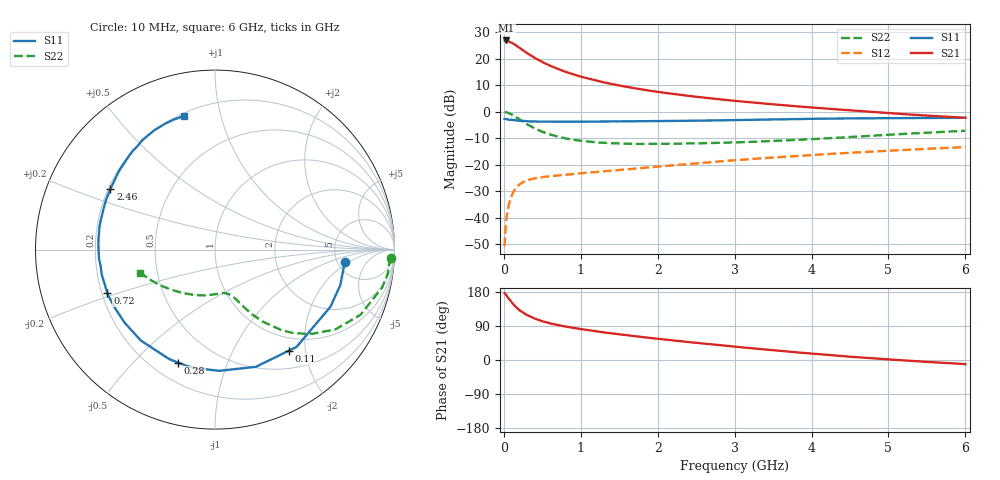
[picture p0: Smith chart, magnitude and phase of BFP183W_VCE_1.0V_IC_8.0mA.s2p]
! Infineon Technologies  Discrete & RF Semiconductors
! BFP183W
! VCE = 1.0 V,  IC =  8.0 mA
! Common Emitter S-Parameters:  Jan 2016
# GHz  S  MA  R  50
!  f  S11  S21  S12  S22
! GHz  MAG  ANG  MAG  ANG  MAG  ANG  MAG  ANG
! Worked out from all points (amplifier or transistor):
!   210 points, 10 MHz to 6 GHz, reference 50 ohm
!   highest |S21| = 26.8 dB at 30 MHz (marker M1)
!   |S21| within 3 dB of that: start of sweep to 213.7 MHz
!   unconditionally stable (mu >= 1): 1.359 GHz to end of sweep
!   at 185 MHz: K = 0.21, MSG = 26.2 dB, |S12| = -27.9 dB
!   at 1.52 GHz: K = 1.06, MAG = 14.3 dB, |S12| = -22.0 dB
!   at 6 GHz: K = 1.03, MAG = 4.4 dB, |S12| = -13.4 dB
!   S11 on the Smith chart (normalised r, x): 10 MHz: 5.84, -1.66; 110 MHz: 0.77, -1.69; 280 MHz: 0.30, -0.68; 720 MHz: 0.22, -0.19; 2.46 GHz: 0.21, +0.26; 6 GHz: 0.22, +0.77
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0.01  0.727 -5.3  21.95 176.4  0.0029 88.3  0.9816 -2.6
0.02  0.7229 -10.5  21.92 174.3  0.0059 81.8  0.9723 -5.2
0.03  0.7256 -15.8  21.97 171.4  0.0087 82.3  0.9726 -7.8
0.05  0.7177 -26.3  21.53 165.5  0.0142 78.0  0.9549 -12.8
0.1  0.7075 -50.0  20.03 152.5  0.0259 66.4  0.8884 -24.1
0.11  0.697 -54.0  19.58 150.4  0.0278 64.1  0.8697 -25.8
0.15  0.6916 -70.8  18.1 140.9  0.0355 57.4  0.8041 -33.6
0.2  0.6758 -87.9  16.06 131.8  0.0421 50.8  0.7183 -40.7
0.28  0.6621 -108.1  13.31 121.1  0.0491 43.4  0.6043 -48.9
0.3  0.6613 -112.7  12.68 118.5  0.0506 41.9  0.5787 -50.6
0.4  0.6537 -129.2  10.29 109.2  0.0552 37.1  0.4825 -56.4
0.5  0.6477 -140.8  8.581 102.2  0.0583 34.6  0.4167 -60.1
0.6  0.6454 -149.7  7.315 96.7  0.0605 33.3  0.3702 -62.6
0.72  0.6466 -158.0  6.245 91.5  0.063 33.0  0.3325 -64.8
1.02  0.6445 -172.5  4.483 81.0  0.069 33.9  0.2796 -69.3
1.46  0.652 173.2  3.188 68.8  0.0783 36.5  0.2518 -75.6
2.02  0.6621 159.4  2.336 55.6  0.0923 39.4  0.246 -84.6
2.46  0.6732 150.0  1.933 46.1  0.1045 40.3  0.2508 -93.1
3.1  0.6954 138.2  1.547 33.4  0.124 39.9  0.2653 -106.5
4.1  0.7338 122.4  1.167 15.4  0.1549 37.1  0.3076 -129.4
5.1  0.7552 111.0  0.915 0.2  0.1859 32.5  0.3732 -149.3
6  0.7637 103.1  0.765 -10.9  0.2148 28.1  0.435 -162.7
